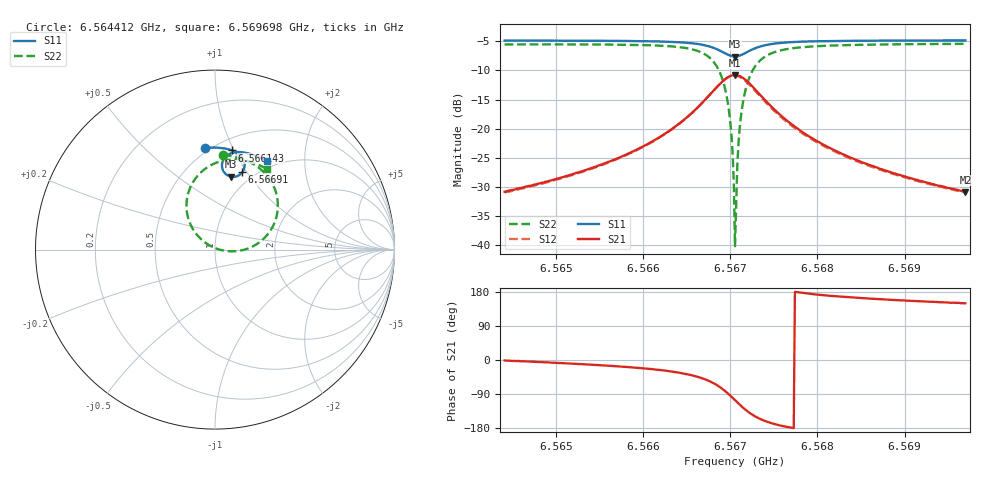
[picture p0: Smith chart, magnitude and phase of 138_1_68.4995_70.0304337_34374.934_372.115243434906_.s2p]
#  HZ  S  RI  R  50.00
! Rohde & Schwarz Vector Network Analyzer
! Rohde-Schwarz,ZNB20-2Port,1311601062101988,3.16
! Created: UTC 3/20/2024, 4:54:45 PM
! freq[Hz]  re:S11  im:S11  re:S21  im:S21  re:S12  im:S12  re:S22  im:S22
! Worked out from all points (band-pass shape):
!   401 points, 6.564412 GHz to 6.569698 GHz, reference 50 ohm
!   highest |S21| = -10.80 dB at 6.567055 GHz (marker M1); lowest = -30.9 dB at 6.569698 GHz (marker M2)
!   |S21| within 3 dB of the highest: 6.56679 GHz to 6.567319 GHz (529.3 kHz wide, 0.00806 % of centre)
!   lowest |S11| = -7.6 dB at 6.567055 GHz (marker M3), VSWR 2.42, Z = 41.5 + j40.8 ohm
!   |S11| at or under -10 dB: nowhere
!   |S22| runs from -40.2 to -5.4 dB; largest |S21 - S12| = 0.014
!   S11 on the Smith chart (normalised r, x): 6.564412 GHz: 0.47, +0.79; 6.566143 GHz: 0.61, +0.98; 6.56691 GHz: 0.87, +0.95; 6.569698 GHz: 0.90, +1.32
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6.564412e9  -0.0581 0.5664  0.0288 -0.00064  0.0283 -0.00122  0.0435 0.5265
6.5652974e9  0.0149 0.5678  0.0423 -0.00812  0.0415 -0.00883  0.1288 0.512
6.5661431e9  0.095 0.5527  0.073 -0.0342  0.0719 -0.035  0.2429 0.4571
6.5661828e9  0.0993 0.551  0.0753 -0.0371  0.0742 -0.0379  0.25 0.4515
6.5666849e9  0.1585 0.4993  0.1107 -0.1264  0.1082 -0.129  0.3483 0.2771
6.5668171e9  0.1642 0.463  0.1001 -0.1901  0.095 -0.1937  0.3338 0.1554
6.5669096e9  0.1516 0.4305  0.0607 -0.2457  0.052 -0.2487  0.2618 0.0522
6.5669889e9  0.122 0.4086  -0.00718 -0.2798  -0.0192 -0.279  0.1367 -0.00646
6.5670153e9  0.1087 0.4056  -0.0355 -0.283  -0.0482 -0.2801  0.0855 -0.00953
6.5670285e9  0.1018 0.4052  -0.0502 -0.2828  -0.0628 -0.2786  0.0591 -0.00719
6.5670417e9  0.0947 0.4055  -0.0648 -0.2806  -0.0773 -0.2756  0.0333 -0.00223
6.5670549e9  0.0878 0.4066  -0.0794 -0.2773  -0.0916 -0.2711  0.00808 0.00558
6.5670682e9  0.0811 0.4085  -0.0934 -0.2725  -0.1051 -0.2652  -0.016 0.0159
6.5670814e9  0.0745 0.4112  -0.107 -0.2664  -0.118 -0.258  -0.0391 0.0285
6.5671078e9  0.0628 0.4187  -0.1313 -0.2506  -0.1408 -0.2405  -0.0795 0.0597
6.5671342e9  0.0533 0.4279  -0.1512 -0.2312  -0.159 -0.22  -0.1115 0.0965
6.5671871e9  0.0416 0.4497  -0.1775 -0.1873  -0.1813 -0.1755  -0.1497 0.1769
6.5672532e9  0.0393 0.4766  -0.1873 -0.135  -0.1874 -0.1243  -0.1577 0.2695
6.5675042e9  0.0773 0.5308  -0.1438 -0.0283  -0.1405 -0.0241  -0.0566 0.4486
6.5679403e9  0.1404 0.5432  -0.0822 0.00858  -0.0802 0.00996  0.0818 0.5009
6.5688257e9  0.224 0.5235  -0.0398 0.0154  -0.039 0.0156  0.2127 0.4837
6.5696979e9  0.289 0.4926  -0.0247 0.0145  -0.0243 0.0146  0.2906 0.4486
